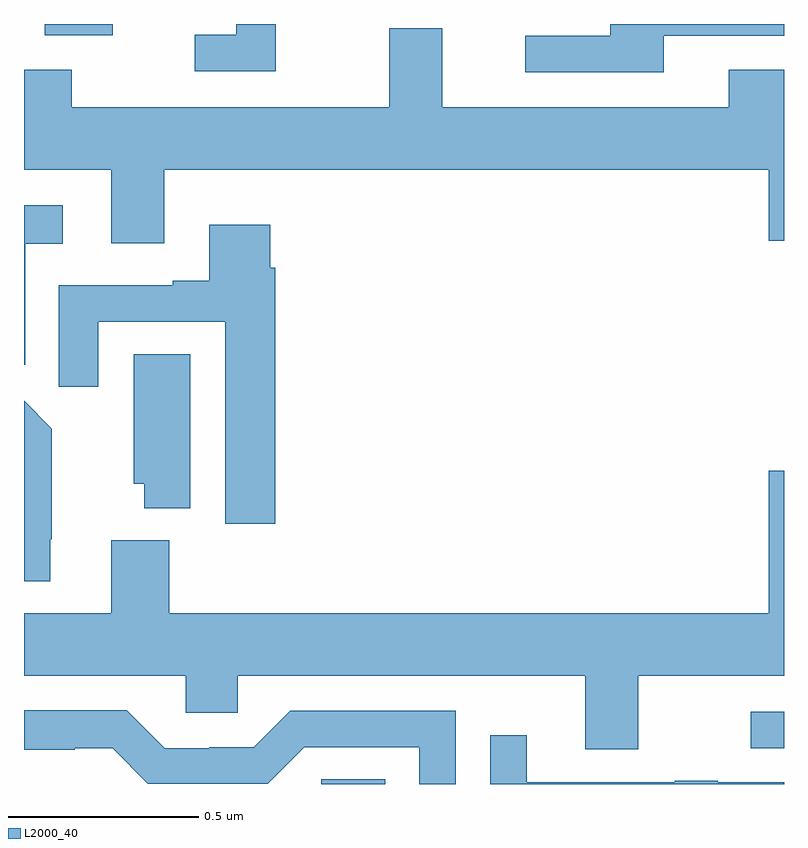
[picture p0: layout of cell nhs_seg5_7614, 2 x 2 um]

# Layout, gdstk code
import gdstk
lib = gdstk.Library(unit=1e-6, precision=1e-09)
def R(c, l, rs):  # rectangles x0, y0, x1, y1
    for r in rs: c.add(gdstk.rectangle(r[:2], r[2:], *l))
def P(c, l, *ps):  # polygons
    for p in ps: c.add(gdstk.Polygon(p, *l))
L2000_40 = (2000, 40)

nhs_seg5_7614 = lib.new_cell('nhs_seg5_7614')
R(nhs_seg5_7614, L2000_40, [(211.782,865.799,211.95,865.811), (212.913,865.893,213,865.989), (211.055,867.77,211.234,867.799)])
P(nhs_seg5_7614, L2000_40, [(211.663,867.799),(211.559,867.799),(211.559,867.771),(211.449,867.771),(211.449,867.675),(211.663,867.675)],
  [(212.683,867.768),(213,867.768),(213,867.799),(212.543,867.799),(212.543,867.768),(212.319,867.768),(212.319,867.672),(212.683,867.672)],
  [(211.369,867.416),(212.96,867.416),(212.96,867.228),(213,867.228),(213,867.679),(212.855,867.679),(212.855,867.58),(212.101,867.58),(212.101,867.788),(211.961,867.788),(211.961,867.58),(211.125,867.58),(211.125,867.679),(211,867.679),(211,867.416),(211.229,867.416),(211.229,867.222),(211.369,867.222)],
  [(211.003,867.221),(211.102,867.221),(211.102,867.322),(211,867.322),(211,866.902),(211.003,866.902)],
  [(211.661,867.158),(211.648,867.158),(211.648,867.271),(211.487,867.271),(211.487,867.124),(211.391,867.124),(211.391,867.111),(211.091,867.111),(211.091,866.844),(211.195,866.844),(211.195,867.015),(211.529,867.015),(211.529,866.484),(211.661,866.484)],
  [(211.438,866.93),(211.289,866.93),(211.289,866.589),(211.316,866.589),(211.316,866.525),(211.438,866.525)],
  [(211.069,866.443),(211.073,866.443),(211.073,866.734),(211,866.807),(211,866.333),(211.069,866.333)],
  [(212.617,866.084),(213,866.084),(213,866.623),(212.96,866.623),(212.96,866.248),(211.382,866.248),(211.382,866.44),(211.229,866.44),(211.229,866.248),(211,866.248),(211,866.084),(211.425,866.084),(211.425,865.986),(211.563,865.986),(211.563,866.084),(212.477,866.084),(212.477,865.89),(212.617,865.89)],
  [(212.136,865.992),(211.701,865.992),(211.605,865.896),(211.487,865.896),(211.487,865.893),(211.371,865.893),(211.271,865.993),(211,865.993),(211,865.889),(211.133,865.889),(211.133,865.893),(211.233,865.893),(211.326,865.8),(211.641,865.8),(211.737,865.896),(212.04,865.896),(212.04,865.799),(212.136,865.799)],
  [(213,865.803),(212.825,865.803),(212.825,865.808),(212.713,865.808),(212.713,865.803),(212.323,865.803),(212.323,865.927),(212.227,865.927),(212.227,865.799),(213,865.799)])

lib.write_gds('nhs_seg5_7614.gds')
